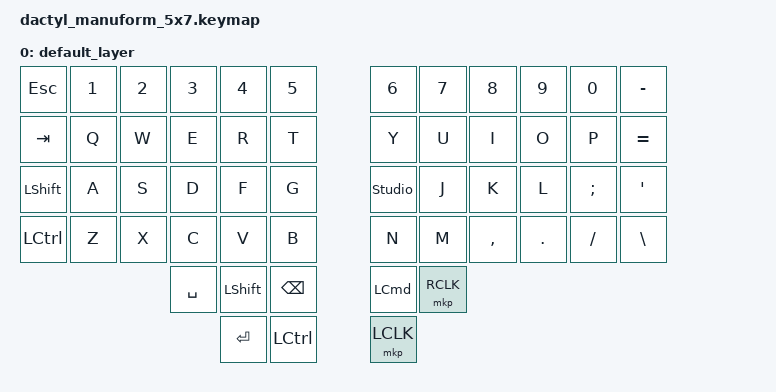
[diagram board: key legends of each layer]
#include <behaviors.dtsi>
#include <dt-bindings/zmk/keys.h>
#include <dt-bindings/zmk/mouse.h>
#include <dt-bindings/zmk/bt.h>
#include <dt-bindings/zmk/ext_power.h>
#include <dt-bindings/zmk/outputs.h>

#include "mouse.dtsi"

#define DEFAULT 0

/ {
    keymap {
        compatible = "zmk,keymap";

        default_layer {
            bindings = <
              &kp ESCAPE      &kp NUMBER_1  &kp NUMBER_2  &kp NUMBER_3  &kp NUMBER_4  &kp NUMBER_5               &kp NUMBER_6  &kp NUMBER_7  &kp NUMBER_8  &kp NUMBER_9  &kp NUMBER_0   &kp MINUS
              &kp TAB         &kp Q         &kp W         &kp E         &kp R         &kp T                      &kp Y         &kp U         &kp I         &kp O         &kp P          &kp EQUAL
              &kp LSHIFT      &kp A         &kp S         &kp D         &kp F         &kp G                      &studio_unlock        &kp J         &kp K         &kp L         &kp SEMICOLON  &kp SINGLE_QUOTE
              &kp LCTRL       &kp Z         &kp X         &kp C         &kp V         &kp B                      &kp N         &kp M         &kp COMMA     &kp PERIOD    &kp SLASH      &kp BACKSLASH

                                                          &kp SPACE     &kp LEFT_SHIFT  &kp BACKSPACE            &kp LCMD      &mkp RCLK
                                                                          &kp ENTER       &kp LCTL               &mkp LCLK
            >;
        };
    };
};
